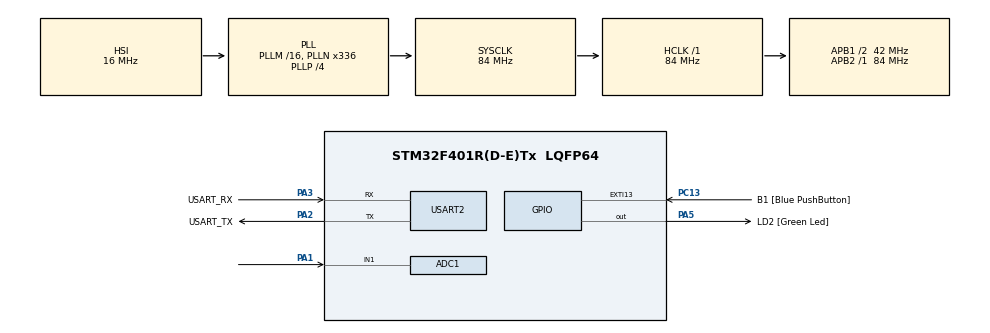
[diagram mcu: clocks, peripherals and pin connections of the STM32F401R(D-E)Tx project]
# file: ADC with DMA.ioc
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ADC1.Channel-0\#ChannelRegularConversion=ADC_CHANNEL_1
ADC1.Channel-1\#ChannelRegularConversion=ADC_CHANNEL_TEMPSENSOR
ADC1.Channel-2\#ChannelRegularConversion=ADC_CHANNEL_VREFINT
ADC1.ContinuousConvMode=DISABLE
ADC1.DMAContinuousRequests=ENABLE
ADC1.InjNumberOfConversion=0
ADC1.NbrOfConversion=3
ADC1.NbrOfConversionFlag=1
ADC1.Rank-0\#ChannelRegularConversion=1
ADC1.Rank-1\#ChannelRegularConversion=2
ADC1.Rank-2\#ChannelRegularConversion=3
ADC1.SamplingTime-0\#ChannelRegularConversion=ADC_SAMPLETIME_480CYCLES
ADC1.SamplingTime-1\#ChannelRegularConversion=ADC_SAMPLETIME_480CYCLES
ADC1.SamplingTime-2\#ChannelRegularConversion=ADC_SAMPLETIME_480CYCLES
ADC1.master=1
Dma.ADC1.0.Direction=DMA_PERIPH_TO_MEMORY
Dma.ADC1.0.FIFOMode=DMA_FIFOMODE_DISABLE
Dma.ADC1.0.Instance=DMA2_Stream0
Dma.ADC1.0.MemDataAlignment=DMA_MDATAALIGN_HALFWORD
Dma.ADC1.0.MemInc=DMA_MINC_ENABLE
Dma.ADC1.0.Mode=DMA_CIRCULAR
Dma.ADC1.0.PeriphDataAlignment=DMA_PDATAALIGN_HALFWORD
Dma.ADC1.0.PeriphInc=DMA_PINC_DISABLE
Dma.ADC1.0.Priority=DMA_PRIORITY_LOW
Dma.Request0=ADC1
Mcu.Family=STM32F4
Mcu.Name=STM32F401R(D-E)Tx
Mcu.Package=LQFP64
NVIC.ADC_IRQn=true\:0\:0\:false\:false\:true\:true\:true\:true
NVIC.DMA2_Stream0_IRQn=true\:0\:0\:false\:false\:true\:false\:true\:true
NVIC.PriorityGroup=NVIC_PRIORITYGROUP_0
PA1.Signal=ADCx_IN1
PA13.GPIO_Label=TMS
PA13.Mode=Serial_Wire
PA13.Signal=SYS_JTMS-SWDIO
PA14.GPIO_Label=TCK
PA14.Mode=Serial_Wire
PA14.Signal=SYS_JTCK-SWCLK
PA2.GPIO_Label=USART_TX
PA2.GPIO_Mode=GPIO_MODE_AF_PP
PA2.GPIO_PuPd=GPIO_NOPULL
PA2.GPIO_Speed=GPIO_SPEED_FREQ_LOW
PA2.Mode=Asynchronous
PA2.Signal=USART2_TX
PA3.GPIO_Label=USART_RX
PA3.GPIO_Mode=GPIO_MODE_AF_PP
PA3.GPIO_PuPd=GPIO_NOPULL
PA3.GPIO_Speed=GPIO_SPEED_FREQ_LOW
PA3.Mode=Asynchronous
PA3.Signal=USART2_RX
PA5.GPIO_Label=LD2 [Green Led]
PA5.GPIO_Mode=GPIO_MODE_OUTPUT_PP
PA5.GPIO_PuPd=GPIO_NOPULL
PA5.GPIO_Speed=GPIO_SPEED_FREQ_LOW
PA5.Signal=GPIO_Output
PB3.GPIO_Label=SWO
PB3.Signal=SYS_JTDO-SWO
PC13-ANTI_TAMP.GPIO_Label=B1 [Blue PushButton]
PC13-ANTI_TAMP.GPIO_ModeDefaultEXTI=GPIO_MODE_IT_FALLING
PC13-ANTI_TAMP.GPIO_PuPd=GPIO_NOPULL
PC13-ANTI_TAMP.Signal=GPXTI13
PC14-OSC32_IN.Mode=LSE-External-Oscillator
PC14-OSC32_IN.Signal=RCC_OSC32_IN
PC15-OSC32_OUT.Mode=LSE-External-Oscillator
PC15-OSC32_OUT.Signal=RCC_OSC32_OUT
PH0\ -\ OSC_IN.Mode=HSE-External-Clock-Source
PH0\ -\ OSC_IN.Signal=RCC_OSC_IN
PH1\ -\ OSC_OUT.Mode=HSE-External-Clock-Source
PH1\ -\ OSC_OUT.Signal=RCC_OSC_OUT
ProjectManager.HeapSize=0x200
ProjectManager.StackSize=0x400
ProjectManager.TargetToolchain=STM32CubeIDE
RCC.48MHZClocksFreq_Value=48000000
RCC.AHBFreq_Value=84000000
RCC.APB1CLKDivider=RCC_HCLK_DIV2
RCC.APB1Freq_Value=42000000
RCC.APB1TimFreq_Value=84000000
RCC.APB2Freq_Value=84000000
RCC.APB2TimFreq_Value=84000000
RCC.CortexFreq_Value=84000000
RCC.HCLKFreq_Value=84000000
RCC.HSE_VALUE=8000000
RCC.HSI_VALUE=16000000
RCC.PLLN=336
RCC.PLLP=RCC_PLLP_DIV4
RCC.PLLQ=7
RCC.SYSCLKFreq_VALUE=84000000
RCC.SYSCLKSource=RCC_SYSCLKSOURCE_PLLCLK
RCC.VCOOutputFreq_Value=336000000
SH.ADCx_IN1.0=ADC1_IN1,IN1
USART2.VirtualMode=VM_ASYNC
VP_ADC1_TempSens_Input.Mode=IN-TempSens
VP_ADC1_Vref_Input.Mode=IN-Vrefint
board=NUCLEO-F401RE

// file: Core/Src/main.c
/* USER CODE BEGIN Header */
/**
  ******************************************************************************
  * @file           : main.c
  * @brief          : Main program body
  ******************************************************************************
  * @attention
  *
  * Copyright (c) 2022 STMicroelectronics.
  * All rights reserved.
  *
  * This software is licensed under terms that can be found in the LICENSE file
  * in the root directory of this software component.
  * If no LICENSE file comes with this software, it is provided AS-IS.
  *
  ******************************************************************************
  */
/* USER CODE END Header */
#include "main.h"

/* USER CODE BEGIN Includes */
#include <stdio.h>
#include <string.h>
/* USER CODE END Includes */

/* USER CODE BEGIN PM */
#define VSENSE 3.3/4096
#define V25 0.76
#define Avg_Slope 0.0025
/* USER CODE END PM */

ADC_HandleTypeDef hadc1;
DMA_HandleTypeDef hdma_adc1;

UART_HandleTypeDef huart2;

/* USER CODE BEGIN PV */
uint16_t values[3];
/* USER CODE END PV */

void SystemClock_Config(void);
static void MX_GPIO_Init(void);
static void MX_DMA_Init(void);
static void MX_USART2_UART_Init(void);
static void MX_ADC1_Init(void);

int main(void)
{

  /* MCU Configuration--------------------------------------------------------*/

  /* Reset of all peripherals, Initializes the Flash interface and the Systick. */
  HAL_Init();

  /* Configure the system clock */
  SystemClock_Config();

  /* Initialize all configured peripherals */
  MX_GPIO_Init();
  MX_DMA_Init();
  MX_USART2_UART_Init();
  MX_ADC1_Init();

  /* Infinite loop */
  /* USER CODE BEGIN WHILE */
  while (1)
  {
	HAL_ADC_Start_DMA(&hadc1, values, sizeof(values)/sizeof(values[0]));
	HAL_Delay(1000);
    /* USER CODE END WHILE */

  }
}

void SystemClock_Config(void)
{
  RCC_OscInitTypeDef RCC_OscInitStruct = {0};
  RCC_ClkInitTypeDef RCC_ClkInitStruct = {0};

  /** Configure the main internal regulator output voltage
  */
  __HAL_RCC_PWR_CLK_ENABLE();
  __HAL_PWR_VOLTAGESCALING_CONFIG(PWR_REGULATOR_VOLTAGE_SCALE2);

  /** Initializes the RCC Oscillators according to the specified parameters
  * in the RCC_OscInitTypeDef structure.
  */
  RCC_OscInitStruct.OscillatorType = RCC_OSCILLATORTYPE_HSI;
  RCC_OscInitStruct.HSIState = RCC_HSI_ON;
  RCC_OscInitStruct.HSICalibrationValue = RCC_HSICALIBRATION_DEFAULT;
  RCC_OscInitStruct.PLL.PLLState = RCC_PLL_ON;
  RCC_OscInitStruct.PLL.PLLSource = RCC_PLLSOURCE_HSI;
  RCC_OscInitStruct.PLL.PLLM = 16;
  RCC_OscInitStruct.PLL.PLLN = 336;
  RCC_OscInitStruct.PLL.PLLP = RCC_PLLP_DIV4;
  RCC_OscInitStruct.PLL.PLLQ = 7;
  if (HAL_RCC_OscConfig(&RCC_OscInitStruct) != HAL_OK)
  {
    Error_Handler();
  }

  /** Initializes the CPU, AHB and APB buses clocks
  */
  RCC_ClkInitStruct.ClockType = RCC_CLOCKTYPE_HCLK|RCC_CLOCKTYPE_SYSCLK
                              |RCC_CLOCKTYPE_PCLK1|RCC_CLOCKTYPE_PCLK2;
  RCC_ClkInitStruct.SYSCLKSource = RCC_SYSCLKSOURCE_PLLCLK;
  RCC_ClkInitStruct.AHBCLKDivider = RCC_SYSCLK_DIV1;
  RCC_ClkInitStruct.APB1CLKDivider = RCC_HCLK_DIV2;
  RCC_ClkInitStruct.APB2CLKDivider = RCC_HCLK_DIV1;

  if (HAL_RCC_ClockConfig(&RCC_ClkInitStruct, FLASH_LATENCY_2) != HAL_OK)
  {
    Error_Handler();
  }
}

static void MX_ADC1_Init(void)
{

  ADC_ChannelConfTypeDef sConfig = {0};

  /** Configure the global features of the ADC (Clock, Resolution, Data Alignment and number of conversion)
  */
  hadc1.Instance = ADC1;
  hadc1.Init.ClockPrescaler = ADC_CLOCK_SYNC_PCLK_DIV4;
  hadc1.Init.Resolution = ADC_RESOLUTION_12B;
  hadc1.Init.ScanConvMode = ENABLE;
  hadc1.Init.ContinuousConvMode = DISABLE;
  hadc1.Init.DiscontinuousConvMode = DISABLE;
  hadc1.Init.ExternalTrigConvEdge = ADC_EXTERNALTRIGCONVEDGE_NONE;
  hadc1.Init.ExternalTrigConv = ADC_SOFTWARE_START;
  hadc1.Init.DataAlign = ADC_DATAALIGN_RIGHT;
  hadc1.Init.NbrOfConversion = 3;
  hadc1.Init.DMAContinuousRequests = ENABLE;
  hadc1.Init.EOCSelection = ADC_EOC_SINGLE_CONV;
  if (HAL_ADC_Init(&hadc1) != HAL_OK)
  {
    Error_Handler();
  }

  /** Configure for the selected ADC regular channel its corresponding rank in the sequencer and its sample time.
  */
  sConfig.Channel = ADC_CHANNEL_1;
  sConfig.Rank = 1;
  sConfig.SamplingTime = ADC_SAMPLETIME_480CYCLES;
  if (HAL_ADC_ConfigChannel(&hadc1, &sConfig) != HAL_OK)
  {
    Error_Handler();
  }

  /** Configure for the selected ADC regular channel its corresponding rank in the sequencer and its sample time.
  */
  sConfig.Channel = ADC_CHANNEL_TEMPSENSOR;
  sConfig.Rank = 2;
  if (HAL_ADC_ConfigChannel(&hadc1, &sConfig) != HAL_OK)
  {
    Error_Handler();
  }

  /** Configure for the selected ADC regular channel its corresponding rank in the sequencer and its sample time.
  */
  sConfig.Channel = ADC_CHANNEL_VREFINT;
  sConfig.Rank = 3;
  if (HAL_ADC_ConfigChannel(&hadc1, &sConfig) != HAL_OK)
  {
    Error_Handler();
  }

}

static void MX_USART2_UART_Init(void)
{

  huart2.Instance = USART2;
  huart2.Init.BaudRate = 115200;
  huart2.Init.WordLength = UART_WORDLENGTH_8B;
  huart2.Init.StopBits = UART_STOPBITS_1;
  huart2.Init.Parity = UART_PARITY_NONE;
  huart2.Init.Mode = UART_MODE_TX_RX;
  huart2.Init.HwFlowCtl = UART_HWCONTROL_NONE;
  huart2.Init.OverSampling = UART_OVERSAMPLING_16;
  if (HAL_UART_Init(&huart2) != HAL_OK)
  {
    Error_Handler();
  }

}

static void MX_DMA_Init(void)
{

  /* DMA controller clock enable */
  __HAL_RCC_DMA2_CLK_ENABLE();

  /* DMA interrupt init */
  /* DMA2_Stream0_IRQn interrupt configuration */
  HAL_NVIC_SetPriority(DMA2_Stream0_IRQn, 0, 0);
  HAL_NVIC_EnableIRQ(DMA2_Stream0_IRQn);

}

static void MX_GPIO_Init(void)
{
  GPIO_InitTypeDef GPIO_InitStruct = {0};

  /* GPIO Ports Clock Enable */
  __HAL_RCC_GPIOC_CLK_ENABLE();
  __HAL_RCC_GPIOH_CLK_ENABLE();
  __HAL_RCC_GPIOA_CLK_ENABLE();
  __HAL_RCC_GPIOB_CLK_ENABLE();

  /*Configure GPIO pin Output Level */
  HAL_GPIO_WritePin(LD2_GPIO_Port, LD2_Pin, GPIO_PIN_RESET);

  /*Configure GPIO pin : B1_Pin */
  GPIO_InitStruct.Pin = B1_Pin;
  GPIO_InitStruct.Mode = GPIO_MODE_IT_FALLING;
  GPIO_InitStruct.Pull = GPIO_NOPULL;
  HAL_GPIO_Init(B1_GPIO_Port, &GPIO_InitStruct);

  /*Configure GPIO pin : LD2_Pin */
  GPIO_InitStruct.Pin = LD2_Pin;
  GPIO_InitStruct.Mode = GPIO_MODE_OUTPUT_PP;
  GPIO_InitStruct.Pull = GPIO_NOPULL;
  GPIO_InitStruct.Speed = GPIO_SPEED_FREQ_LOW;
  HAL_GPIO_Init(LD2_GPIO_Port, &GPIO_InitStruct);

}

/* USER CODE BEGIN 4 */
float getTemp (uint16_t variable){
	return ((V25 - (variable*VSENSE)) / Avg_Slope) + 25;
}

void HAL_ADC_ConvCpltCallback(ADC_HandleTypeDef* hadc){
	uint16_t potentiometer = values[0];
	uint16_t temperature = values[1];
	uint16_t vref = values[2];

	float potentiometer_voltage = potentiometer*VSENSE;
	float temperature_voltage = getTemp(temperature);
	float vref_voltage = vref*VSENSE;

	char string[100];
	int length = snprintf(string, 100, "pot: %.3fV, temp: %.3f°C, vref: %.3fV\n\r", potentiometer_voltage, temperature_voltage, vref_voltage);
	HAL_UART_Transmit(&huart2, string, length, 100);
}
/* USER CODE END 4 */

void Error_Handler(void)
{
  __disable_irq();
  while (1)
  {
  }
}
